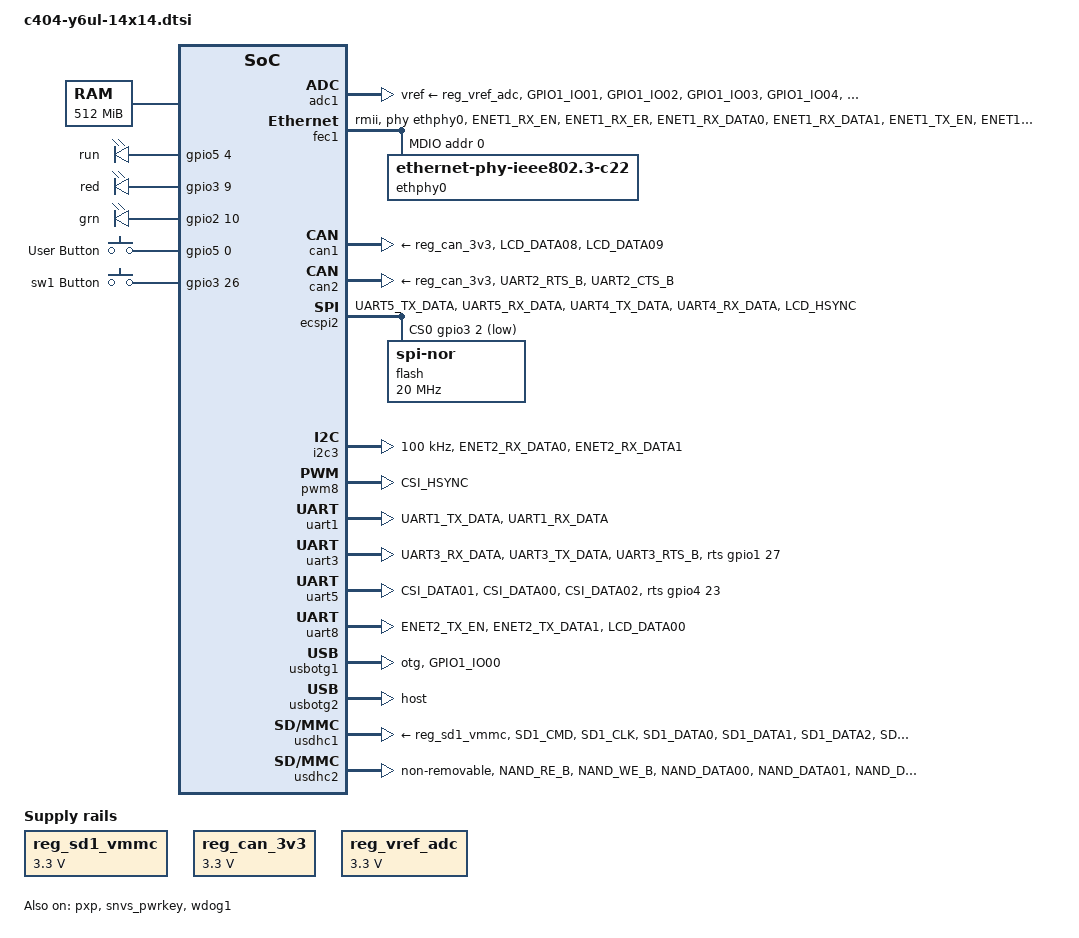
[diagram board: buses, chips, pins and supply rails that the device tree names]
// SPDX-License-Identifier: GPL-2.0
//
// Copyright (C) 2015 Freescale Semiconductor, Inc.

/ {
	chosen {
		stdout-path = &uart1;
	};

	memory@80000000 {
		device_type = "memory";
		reg = <0x80000000 0x20000000>;
	};

	reserved-memory {
		#address-cells = <1>;
		#size-cells = <1>;
		ranges;

		linux,cma {
			compatible = "shared-dma-pool";
			reusable;
			size = <0x8000000>;
			linux,cma-default;
		};
	};

	/*pxp_v4l2 {
		compatible = "fsl,imx6ul-pxp-v4l2", "fsl,imx6sx-pxp-v4l2", "fsl,imx6sl-pxp-v4l2";
		status = "okay";
	};*/

	reg_sd1_vmmc: regulator-sd1-vmmc {
		compatible = "regulator-fixed";
		regulator-name = "VSD_3V3";
		regulator-min-microvolt = <3300000>;
		regulator-max-microvolt = <3300000>;
		//gpio = <&gpio1 9 GPIO_ACTIVE_HIGH>;
		off-on-delay-us = <20000>;
		enable-active-high;
	};

	/*reg_peri_3v3: regulator-peri-3v3 {
		compatible = "regulator-fixed";
		pinctrl-names = "default";
		pinctrl-0 = <&pinctrl_peri_3v3>;
		regulator-name = "VPERI_3V3";
		regulator-min-microvolt = <3300000>;
		regulator-max-microvolt = <3300000>;
		gpio = <&gpio5 2 GPIO_ACTIVE_LOW>;
		
		 * If you want to want to make this dynamic please
		 * check schematics and test all affected peripherals:
		 *
		 * - sensors
		 * - ethernet phy
		 * - can
		 * - bluetooth
		 * - wm8960 audio codec
		 * - ov5640 camera
		 
		regulator-always-on;
	};*/

	reg_can_3v3: regulator-can-3v3 {
		compatible = "regulator-fixed";
		regulator-name = "can-3v3";
		regulator-min-microvolt = <3300000>;
		regulator-max-microvolt = <3300000>;
		//gpios = <&gpio_spi 3 GPIO_ACTIVE_LOW>;
	};

	reg_vref_adc: regulator-vref-adc {
		compatible = "regulator-fixed";
		regulator-name = "vref-adc";
		regulator-min-microvolt = <3300000>;
		regulator-max-microvolt = <3300000>;
	};

	spi4 {
		compatible = "spi-gpio";
		pinctrl-names = "default";
		pinctrl-0 = <&pinctrl_spi4>;
		status = "disabled";
		pinctrl-assert-gpios = <&gpio5 8 GPIO_ACTIVE_LOW>;
		gpio-sck = <&gpio5 11 0>;
		gpio-mosi = <&gpio5 10 0>;
		cs-gpios = <&gpio5 7 0>;
		num-chipselects = <1>;
		#address-cells = <1>;
		#size-cells = <0>;

		gpio_spi: gpio@0 {
			compatible = "fairchild,74hc595";
			gpio-controller;
			#gpio-cells = <2>;
			reg = <0>;
			registers-number = <1>;
			registers-default = /bits/ 8 <0x57>;
			spi-max-frequency = <100000>;
		};
	};

	leds {
		compatible = "gpio-leds";
		pinctrl-names = "default";
		pinctrl-0 = <&pinctrl_leds>;

		led0: run {
			label = "run";
			gpios = <&gpio5 4 GPIO_ACTIVE_HIGH>;
			default-state = "on";
		};

        led1: red {
			label = "red";
			gpios = <&gpio3 9 GPIO_ACTIVE_HIGH>;
			default-state = "off";
			linux,default-trigger = "heartbeat";
		};
		led2: grn {
			label = "grn";
			gpios = <&gpio2 10 GPIO_ACTIVE_HIGH>;
			default-state = "on";
		};
	};

	gpio-keys {
		compatible = "gpio-keys";
		pinctrl-names = "default";
		pinctrl-0 = <&pinctrl_gpio_key>;

		user {
			label = "User Button";
			gpios = <&gpio5 0 GPIO_ACTIVE_HIGH>;
			gpio-key,wakeup;
			linux,code = <KEY_1>;
		};
		sw1 {
			label = "sw1 Button";
			gpios = <&gpio3 26 GPIO_ACTIVE_HIGH>;
			gpio-key,wakeup;
			linux,code = <KEY_2>;
		};
    };
};

/*adc*/
&adc1 {
	pinctrl-names = "default";
	pinctrl-0 = <&pinctrl_adc1>;
	num-channels = <10>;
	vref-supply = <&reg_vref_adc>;
	status = "okay";
};

&clks {
	assigned-clocks = <&clks IMX6UL_CLK_PLL4_AUDIO_DIV>;
	assigned-clock-rates = <786432000>;
};

/*Ethernet*/
&fec1 {
	pinctrl-names = "default";
	pinctrl-0 = <&pinctrl_enet1>;
	phy-mode = "rmii";
	phy-handle = <&ethphy0>;
	//phy-supply = <&reg_peri_3v3>;
	phy-reset-gpios = <&gpio5 9 GPIO_ACTIVE_LOW>;
	phy-reset-duration = <26>;
	status = "okay";
	mdio {
		#address-cells = <1>;
		#size-cells = <0>;

		ethphy0: ethernet-phy@0 {
			compatible = "ethernet-phy-ieee802.3-c22";
			smsc,disable-energy-detect;
			reg = <0>;
			//micrel,led-mode = <1>;
			//clocks = <&clks IMX6UL_CLK_ENET_REF>;
			//clock-names = "rmii-ref";
		};
	};
};
/*CAN1*/
&can1 {
	pinctrl-names = "default";
	pinctrl-0 = <&pinctrl_flexcan1>;
	xceiver-supply = <&reg_can_3v3>;
	status = "okay";
};
/*CAN2*/
&can2 {
	pinctrl-names = "default";
	pinctrl-0 = <&pinctrl_flexcan2>;
	xceiver-supply = <&reg_can_3v3>;
	status = "okay";
};
/*SPI*/
&ecspi2 {
	pinctrl-names = "default";
	pinctrl-0 = <&pinctrl_ecspi2>;
	cs-gpios = <&gpio3 2 GPIO_ACTIVE_LOW>; /*<&gpio1 29 GPIO_ACTIVE_LOW>, */
	status = "okay";
	flash@0 {
		#address-cells = <1>;
		#size-cells = <1>;
		compatible = "jedec,spi-nor";
		spi-max-frequency = <20000000>;
		reg = <0>;
		spi-rx-bus-width = <4>;
		spi-tx-bus-width = <4>;
	};
};
/*I2C3*/
&i2c3 {
	clock-frequency = <100000>;
	pinctrl-names = "default";
	pinctrl-0 = <&pinctrl_i2c3>;
	status = "okay";

	/*ft5x06: ft5x06@38 {
		compatible = "edt,edt-ft5406", "edt,edt-ft5x06";
		reg = <0x38>;
		pinctrl-names = "default";
		pinctrl-0 = <&edt_ft5x06_pins>;
		interrupt-parent = <&gpio5>;
		interrupts = <4 IRQ_TYPE_EDGE_FALLING>;
		reset-gpios = <&gpio5 3  GPIO_ACTIVE_LOW>;
		touchscreen-size-x=<800>;
		touchscreen-size-y=<480>;
		status = "okay";
	};*/
};

/*PWM*/
&pwm8 {
	#pwm-cells = <2>;
	pinctrl-names = "default";
	pinctrl-0 = <&pinctrl_pwm8>;
	status = "okay";
};

&pxp {
	status = "okay";
};

&snvs_poweroff {
	status = "okay";
};

&snvs_pwrkey {
	status = "okay";
};

&sim2 {
	pinctrl-names = "default";
	pinctrl-0 = <&pinctrl_sim2>;
	assigned-clocks = <&clks IMX6UL_CLK_SIM_SEL>;
	assigned-clock-parents = <&clks IMX6UL_CLK_SIM_PODF>;
	assigned-clock-rates = <240000000>;
	/* GPIO_ACTIVE_HIGH/LOW:sim card voltage control
	 * NCN8025:Vcc = ACTIVE_HIGH?5V:3V
	 * TDA8035:Vcc = ACTIVE_HIGH?5V:1.8V
	 */
	pinctrl-assert-gpios = <&gpio4 23 GPIO_ACTIVE_HIGH>;
	port = <1>;
	sven_low_active;
	status = "disabled";
};

&uart1 {
	pinctrl-names = "default";
	pinctrl-0 = <&pinctrl_uart1>;
	status = "okay";
};

&uart2 {
	pinctrl-names = "default";
	pinctrl-0 = <&pinctrl_uart2>;
	uart-has-rtscts;
	/* for DTE mode, add below change */
	/* fsl,dte-mode; */
	/* pinctrl-0 = <&pinctrl_uart2dte>; */
	status = "disabled";
};
/*RS485-1*/
&uart3 {
	pinctrl-names = "default";
	pinctrl-0 = <&pinctrl_uart3>;
	rts-gpios = <&gpio1 27 GPIO_ACTIVE_HIGH>;
	status = "okay";
};

/*RS485-2*/
&uart5 {
	pinctrl-names = "default";
	pinctrl-0 = <&pinctrl_uart5>;
	rts-gpios = <&gpio4 23 GPIO_ACTIVE_HIGH>;
	status = "okay";
};

/*UART WiFi*/
&uart8 {
	pinctrl-names = "default";
	pinctrl-0 = <&pinctrl_uart8>;
	//rts-gpios = <&gpio3 5 GPIO_ACTIVE_HIGH>;69
	status = "okay";
};

/*USB OTG*/
&usbotg1 {
	dr_mode = "otg";
	pinctrl-names = "default";
	pinctrl-0 = <&pinctrl_usb_otg1>;
	status = "okay";
};

&usbotg2 {
	dr_mode = "host";
	disable-over-current;
	status = "okay";
};

&usbphy1 {
	fsl,tx-d-cal = <106>;
};

&usbphy2 {
	fsl,tx-d-cal = <106>;
};
/*SD Card*/
&usdhc1 {
	pinctrl-names = "default";
	pinctrl-0 = <&pinctrl_usdhc1>;
	//pinctrl-1 = <&pinctrl_usdhc1_100mhz>;
	//pinctrl-2 = <&pinctrl_usdhc1_200mhz>;
	cd-gpios = <&gpio1 19 GPIO_ACTIVE_LOW>;
	keep-power-in-suspend;
	wakeup-source;
	vmmc-supply = <&reg_sd1_vmmc>;
	status = "okay";
};

&usdhc2 {
	pinctrl-names = "default";
	pinctrl-0 = <&pinctrl_usdhc2>;
	non-removable;
	keep-power-in-suspend;
	wakeup-source;
	status = "okay";
};
/*Watchdog*/
&wdog1 {
	pinctrl-names = "default";
	pinctrl-0 = <&pinctrl_wdog>;
	//fsl,ext-reset-output;
	status="okay";
};

&iomuxc {
	pinctrl-names = "default";
	pinctrl-0 = <&pinctrl_jtag1>;

	pinctrl_jtag1: jtag1grp {
        fsl,pins = <
            MX6UL_PAD_JTAG_TCK__SJC_TCK			0x000070A0
			MX6UL_PAD_JTAG_TDI__SJC_TDI			0x000070A0
			MX6UL_PAD_JTAG_TDO__SJC_TDO			0x000090B1
			MX6UL_PAD_JTAG_TRST_B__SJC_TRSTB	0x000070A0
			MX6UL_PAD_JTAG_TMS__SJC_TMS			0x000070A0
		>;
    };

	edt_ft5x06_pins: ft5x06 {
		fsl,pins = <
			//MX6UL_PAD_SNVS_TAMPER3__GPIO5_IO03	0x1b0b0
			//MX6UL_PAD_SNVS_TAMPER4__GPIO5_IO04	0x1b0b0
		>;
	};

	pinctrl_adc1: adc1grp {
		fsl,pins = <
			MX6UL_PAD_GPIO1_IO01__GPIO1_IO01	0xb0
			MX6UL_PAD_GPIO1_IO02__GPIO1_IO02	0xb0
			MX6UL_PAD_GPIO1_IO03__GPIO1_IO03	0xb0
			MX6UL_PAD_GPIO1_IO04__GPIO1_IO04	0xb0
			MX6UL_PAD_GPIO1_IO05__GPIO1_IO05	0xb0
			MX6UL_PAD_GPIO1_IO08__GPIO1_IO08	0xb0
			MX6UL_PAD_GPIO1_IO09__GPIO1_IO09	0xb0
		>;
	};

	pinctrl_enet1: enet1grp {
		fsl,pins = <
			MX6UL_PAD_ENET1_RX_EN__ENET1_RX_EN	0x1b0b0
			MX6UL_PAD_ENET1_RX_ER__ENET1_RX_ER	0x1b0b0
			MX6UL_PAD_ENET1_RX_DATA0__ENET1_RDATA00	0x1b0b0
			MX6UL_PAD_ENET1_RX_DATA1__ENET1_RDATA01	0x1b0b0
			MX6UL_PAD_ENET1_TX_EN__ENET1_TX_EN	0x1b0b0
			MX6UL_PAD_ENET1_TX_DATA0__ENET1_TDATA00	0x1b0b0
			MX6UL_PAD_ENET1_TX_DATA1__ENET1_TDATA01	0x1b0b0
			MX6UL_PAD_ENET1_TX_CLK__ENET1_REF_CLK1	0x4001b031
			MX6UL_PAD_SNVS_TAMPER9__GPIO5_IO09		0x1b0b0
		>;
	};

	pinctrl_flexcan1: flexcan1grp{
		fsl,pins = <
			//MX6UL_PAD_UART3_RTS_B__FLEXCAN1_RX	0x1b020
			//MX6UL_PAD_UART3_CTS_B__FLEXCAN1_TX	0x1b020
			MX6UL_PAD_LCD_DATA08__FLEXCAN1_TX	0x1b020
			MX6UL_PAD_LCD_DATA09__FLEXCAN1_RX	0x1b020
		>;
	};

	pinctrl_flexcan2: flexcan2grp{
		fsl,pins = <
			MX6UL_PAD_UART2_RTS_B__FLEXCAN2_RX	0x1b020
			MX6UL_PAD_UART2_CTS_B__FLEXCAN2_TX	0x1b020
		>;
	};

	pinctrl_ecspi2: ecspi2grp {
		fsl,pins = <
			MX6UL_PAD_UART5_TX_DATA__ECSPI2_MOSI	0x0b0b0 /* CSPI_MOSI */
			MX6UL_PAD_UART5_RX_DATA__ECSPI2_MISO	0x0b0b0 /* CSPI_MISO */
			MX6UL_PAD_UART4_TX_DATA__ECSPI2_SCLK	0x0b0b0 /* CSPI_SCLK */
			MX6UL_PAD_UART4_RX_DATA__GPIO1_IO29		0x0b0b0 /* CSPI_SS */
			MX6UL_PAD_LCD_HSYNC__GPIO3_IO02			0x0b0b0	/* CSPI_SS */
		>;
	};

	pinctrl_i2c3: i2c3grp {
		fsl,pins = <
			MX6UL_PAD_ENET2_RX_DATA0__I2C3_SCL		0x000010B0
			MX6UL_PAD_ENET2_RX_DATA1__I2C3_SDA		0x000010B0	
		>;
	};

	pinctrl_lcdif_dat: lcdifdatgrp {
		fsl,pins = <
			MX6UL_PAD_LCD_DATA12__LCDIF_DATA12  0x79
			MX6UL_PAD_LCD_DATA13__LCDIF_DATA13  0x79
			MX6UL_PAD_LCD_DATA14__LCDIF_DATA14  0x79
		>;
	};

	pinctrl_qspi: qspigrp {
		fsl,pins = <
			MX6UL_PAD_NAND_WP_B__QSPI_A_SCLK	0x70a1
			MX6UL_PAD_NAND_READY_B__QSPI_A_DATA00	0x70a1
			MX6UL_PAD_NAND_CE0_B__QSPI_A_DATA01	0x70a1
			MX6UL_PAD_NAND_CE1_B__QSPI_A_DATA02	0x70a1
			MX6UL_PAD_NAND_CLE__QSPI_A_DATA03	0x70a1
			MX6UL_PAD_NAND_DQS__QSPI_A_SS0_B	0x70a1
		>;
	};

	pinctrl_sai2: sai2grp {
		fsl,pins = <
			MX6UL_PAD_JTAG_TDI__SAI2_TX_BCLK	0x17088
			MX6UL_PAD_JTAG_TDO__SAI2_TX_SYNC	0x17088
			MX6UL_PAD_JTAG_TRST_B__SAI2_TX_DATA	0x11088
			MX6UL_PAD_JTAG_TCK__SAI2_RX_DATA	0x11088
			MX6UL_PAD_JTAG_TMS__SAI2_MCLK		0x17088
			MX6UL_PAD_SNVS_TAMPER7__GPIO5_IO07	0x17059
		>;
	};

	pinctrl_peri_3v3: peri3v3grp {
		fsl,pins = <
			//MX6UL_PAD_SNVS_TAMPER2__GPIO5_IO02	0x1b0b0
		>;
	};

	pinctrl_pwm8: pwm8grp {
		fsl,pins = <
			MX6UL_PAD_CSI_HSYNC__PWM8_OUT		0x110b0
		>;
	};

	pinctrl_sim2: sim2grp {
		fsl,pins = <
			//MX6UL_PAD_CSI_DATA03__SIM2_PORT1_PD		0xb808
			//MX6UL_PAD_CSI_DATA04__SIM2_PORT1_CLK		0x31
			//MX6UL_PAD_CSI_DATA05__SIM2_PORT1_RST_B		0xb808
			//MX6UL_PAD_CSI_DATA06__SIM2_PORT1_SVEN		0xb808
			//MX6UL_PAD_CSI_DATA07__SIM2_PORT1_TRXD		0xb809
			//MX6UL_PAD_CSI_DATA02__GPIO4_IO23		0x3008
		>;
	};

	pinctrl_spi4: spi4grp {
		fsl,pins = <
			MX6UL_PAD_BOOT_MODE0__GPIO5_IO10	0x70a1
			MX6UL_PAD_BOOT_MODE1__GPIO5_IO11	0x70a1
			MX6UL_PAD_SNVS_TAMPER7__GPIO5_IO07	0x70a1
			MX6UL_PAD_SNVS_TAMPER8__GPIO5_IO08	0x80000000
		>;
	};

	pinctrl_leds: ledgrp {
		fsl,pins = <
            MX6UL_PAD_SNVS_TAMPER4__GPIO5_IO04	0x1b0b0
			MX6UL_PAD_LCD_DATA04__GPIO3_IO09	0x1b0b0
			MX6UL_PAD_ENET2_RX_EN__GPIO2_IO10	0x1b0b0
			MX6UL_PAD_LCD_DATA02__GPIO3_IO07	0x1b0b0
			MX6UL_PAD_LCD_DATA01__GPIO3_IO06	0x1b0b0
		>;
	};

	pinctrl_gpio_key: keygrp {
		fsl,pins = <
            MX6UL_PAD_LCD_DATA21__GPIO3_IO26 0x1b0b0
			MX6UL_PAD_SNVS_TAMPER0__GPIO5_IO00	0x1b0b0
		>;
	};

	pinctrl_uart1: uart1grp {
		fsl,pins = <
			MX6UL_PAD_UART1_TX_DATA__UART1_DCE_TX 0x1b0b1
			MX6UL_PAD_UART1_RX_DATA__UART1_DCE_RX 0x1b0b1
		>;
	};

	pinctrl_uart2: uart2grp {
		fsl,pins = <
			MX6UL_PAD_UART2_TX_DATA__UART2_DCE_TX	0x1b0b1
			MX6UL_PAD_UART2_RX_DATA__UART2_DCE_RX	0x1b0b1
		>;
	};

	pinctrl_uart2dte: uart2dtegrp {
		fsl,pins = <
			MX6UL_PAD_UART2_TX_DATA__UART2_DTE_RX	0x1b0b1
			MX6UL_PAD_UART2_RX_DATA__UART2_DTE_TX	0x1b0b1
		>;
	};

	pinctrl_uart3: uart3grp {
		fsl,pins = <
			MX6UL_PAD_UART3_RX_DATA__UART3_DCE_RX	0x1b0b1
			MX6UL_PAD_UART3_TX_DATA__UART3_DCE_TX	0x1b0b1
			MX6UL_PAD_UART3_RTS_B__GPIO1_IO27		0x1b0b1 /* RS485 RE/DE */
		>;
	};

	pinctrl_uart5: uart5grp {
		fsl,pins = <
			MX6UL_PAD_CSI_DATA01__UART5_DCE_RX	0x1b0b1
			MX6UL_PAD_CSI_DATA00__UART5_DCE_TX	0x1b0b1
			MX6UL_PAD_CSI_DATA02__GPIO4_IO23		0x1b0b1 /* RS485 RE/DE */
		>;
	};

	pinctrl_uart8: uart8grp {
		fsl,pins = <
			MX6UL_PAD_ENET2_TX_EN__UART8_DCE_RX		0x1b0b1
			MX6UL_PAD_ENET2_TX_DATA1__UART8_DCE_TX	0x1b0b1
			MX6UL_PAD_LCD_DATA00__GPIO3_IO05		0x1b0b1 /* WiFi RST */
		>;
	};

	pinctrl_usb_otg1: usbotg1grp {
		fsl,pins = <
			MX6UL_PAD_GPIO1_IO00__ANATOP_OTG1_ID	0x17059
		>;
	};

	pinctrl_usdhc1: usdhc1grp {
		fsl,pins = <
			MX6UL_PAD_SD1_CMD__USDHC1_CMD     	0x17059
			MX6UL_PAD_SD1_CLK__USDHC1_CLK		0x10071
			MX6UL_PAD_SD1_DATA0__USDHC1_DATA0 	0x17059
			MX6UL_PAD_SD1_DATA1__USDHC1_DATA1 	0x17059
			MX6UL_PAD_SD1_DATA2__USDHC1_DATA2 	0x17059
			MX6UL_PAD_SD1_DATA3__USDHC1_DATA3 	0x17059
			MX6UL_PAD_UART1_RTS_B__GPIO1_IO19       0x17059 /* SD1 CD */
		>;
	};

	pinctrl_usdhc1_100mhz: usdhc1grp100mhz {
		fsl,pins = <
			MX6UL_PAD_SD1_CMD__USDHC1_CMD     0x170b9
			MX6UL_PAD_SD1_CLK__USDHC1_CLK     0x100b9
			MX6UL_PAD_SD1_DATA0__USDHC1_DATA0 0x170b9
			MX6UL_PAD_SD1_DATA1__USDHC1_DATA1 0x170b9
			MX6UL_PAD_SD1_DATA2__USDHC1_DATA2 0x170b9
			MX6UL_PAD_SD1_DATA3__USDHC1_DATA3 0x170b9

		>;
	};

	pinctrl_usdhc1_200mhz: usdhc1grp200mhz {
		fsl,pins = <
			MX6UL_PAD_SD1_CMD__USDHC1_CMD     0x170f9
			MX6UL_PAD_SD1_CLK__USDHC1_CLK     0x100f9
			MX6UL_PAD_SD1_DATA0__USDHC1_DATA0 0x170f9
			MX6UL_PAD_SD1_DATA1__USDHC1_DATA1 0x170f9
			MX6UL_PAD_SD1_DATA2__USDHC1_DATA2 0x170f9
			MX6UL_PAD_SD1_DATA3__USDHC1_DATA3 0x170f9
		>;
	};

	pinctrl_usdhc2: usdhc2grp {
		fsl,pins = <
			MX6UL_PAD_NAND_RE_B__USDHC2_CLK     0x17059
			MX6UL_PAD_NAND_WE_B__USDHC2_CMD     0x17059
			MX6UL_PAD_NAND_DATA00__USDHC2_DATA0 0x17059
			MX6UL_PAD_NAND_DATA01__USDHC2_DATA1 0x17059
			MX6UL_PAD_NAND_DATA02__USDHC2_DATA2 0x17059
			MX6UL_PAD_NAND_DATA03__USDHC2_DATA3 0x17059
		>;
	};

	pinctrl_usdhc2_8bit: usdhc2grp_8bit {
		fsl,pins = <
			MX6UL_PAD_NAND_RE_B__USDHC2_CLK     0x10069
			MX6UL_PAD_NAND_WE_B__USDHC2_CMD     0x17059
			MX6UL_PAD_NAND_DATA00__USDHC2_DATA0 0x17059
			MX6UL_PAD_NAND_DATA01__USDHC2_DATA1 0x17059
			MX6UL_PAD_NAND_DATA02__USDHC2_DATA2 0x17059
			MX6UL_PAD_NAND_DATA03__USDHC2_DATA3 0x17059
			MX6UL_PAD_NAND_DATA04__USDHC2_DATA4 0x17059
			MX6UL_PAD_NAND_DATA05__USDHC2_DATA5 0x17059
			MX6UL_PAD_NAND_DATA06__USDHC2_DATA6 0x17059
			MX6UL_PAD_NAND_DATA07__USDHC2_DATA7 0x17059
		>;
	};

	pinctrl_usdhc2_8bit_100mhz: usdhc2grp_8bit_100mhz {
		fsl,pins = <
			MX6UL_PAD_NAND_RE_B__USDHC2_CLK     0x100b9
			MX6UL_PAD_NAND_WE_B__USDHC2_CMD     0x170b9
			MX6UL_PAD_NAND_DATA00__USDHC2_DATA0 0x170b9
			MX6UL_PAD_NAND_DATA01__USDHC2_DATA1 0x170b9
			MX6UL_PAD_NAND_DATA02__USDHC2_DATA2 0x170b9
			MX6UL_PAD_NAND_DATA03__USDHC2_DATA3 0x170b9
			MX6UL_PAD_NAND_DATA04__USDHC2_DATA4 0x170b9
			MX6UL_PAD_NAND_DATA05__USDHC2_DATA5 0x170b9
			MX6UL_PAD_NAND_DATA06__USDHC2_DATA6 0x170b9
			MX6UL_PAD_NAND_DATA07__USDHC2_DATA7 0x170b9
		>;
	};

	pinctrl_usdhc2_8bit_200mhz: usdhc2grp_8bit_200mhz {
		fsl,pins = <
			MX6UL_PAD_NAND_RE_B__USDHC2_CLK     0x100f9
			MX6UL_PAD_NAND_WE_B__USDHC2_CMD     0x170f9
			MX6UL_PAD_NAND_DATA00__USDHC2_DATA0 0x170f9
			MX6UL_PAD_NAND_DATA01__USDHC2_DATA1 0x170f9
			MX6UL_PAD_NAND_DATA02__USDHC2_DATA2 0x170f9
			MX6UL_PAD_NAND_DATA03__USDHC2_DATA3 0x170f9
			MX6UL_PAD_NAND_DATA04__USDHC2_DATA4 0x170f9
			MX6UL_PAD_NAND_DATA05__USDHC2_DATA5 0x170f9
			MX6UL_PAD_NAND_DATA06__USDHC2_DATA6 0x170f9
			MX6UL_PAD_NAND_DATA07__USDHC2_DATA7 0x170f9
		>;
	};

	pinctrl_wdog: wdoggrp {
		fsl,pins = <
			MX6UL_PAD_LCD_RESET__WDOG1_WDOG_ANY    0x30b0
		>;
	};
};
